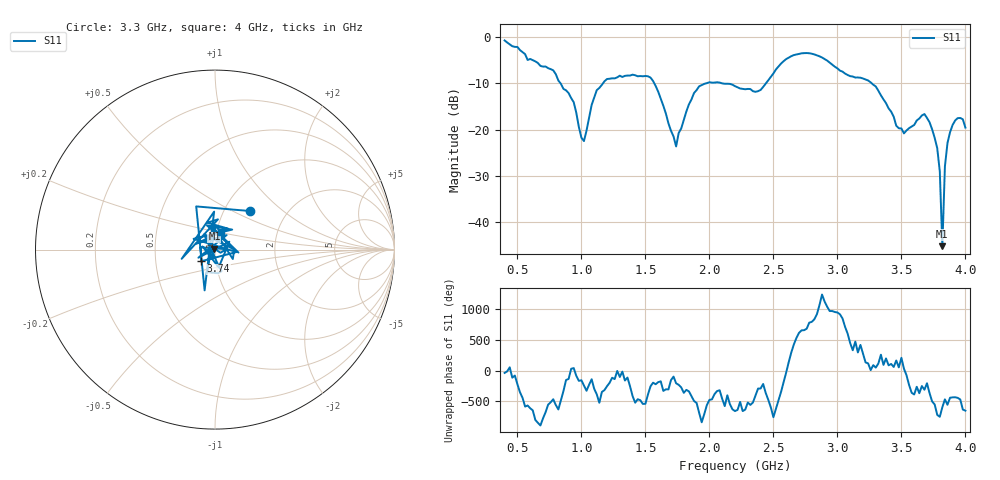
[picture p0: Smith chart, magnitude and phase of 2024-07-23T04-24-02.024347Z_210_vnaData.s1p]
!Created with skrf (http://scikit-rf.org).
# Hz S RI R 50.0
!freq ReS11 ImS11
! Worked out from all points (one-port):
!   181 points, 400 MHz to 4 GHz, reference 50 ohm
!   lowest |S11| = -45.2 dB at 3.82 GHz (marker M1), VSWR 1.01, Z = 49.7 + j0.438 ohm
!   |S11| at or under -10 dB: 1.569 GHz to 1.978 GHz (409.1 MHz wide, 23.1 % of centre); 2.096 GHz to 2.443 GHz (346.3 MHz wide, 15.3 % of centre); 3.267 GHz to end of sweep (the widest 3 of 4)
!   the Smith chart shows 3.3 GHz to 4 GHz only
!   S11 on the Smith chart (normalised r, x): 3.3 GHz: 1.33, +0.62; 3.74 GHz: 0.85, -0.11; 4 GHz: 1.05, +0.21
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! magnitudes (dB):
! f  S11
! 400 MHz  -0.8
! 780 MHz  -7.2
! 860 MHz  -11.2
! 940 MHz  -14.1
! 1.02 GHz  -22.5
! 1.12 GHz  -11.5
! 1.3 GHz  -8.4
! 1.54 GHz  -8.8
! 1.74 GHz  -23.6
! 1.76 GHz  -20.7
! 1.92 GHz  -10.7
! 2.2 GHz  -10.6
! 2.4 GHz  -11.5
! 2.66 GHz  -3.9
! 2.84 GHz  -4.0
! 3.1 GHz  -8.5
! 3.3 GHz  -10.7
! 3.46 GHz  -19.2
! 3.56 GHz  -19.7
! 3.68 GHz  -16.7
! 3.74 GHz  -19.9
! 3.78 GHz  -24.0
! 3.8 GHz  -29.0
! 3.82 GHz  -45.2
! 3.84 GHz  -28.0
! 3.86 GHz  -22.9
! 3.94 GHz  -17.5
! 4 GHz  -19.6
